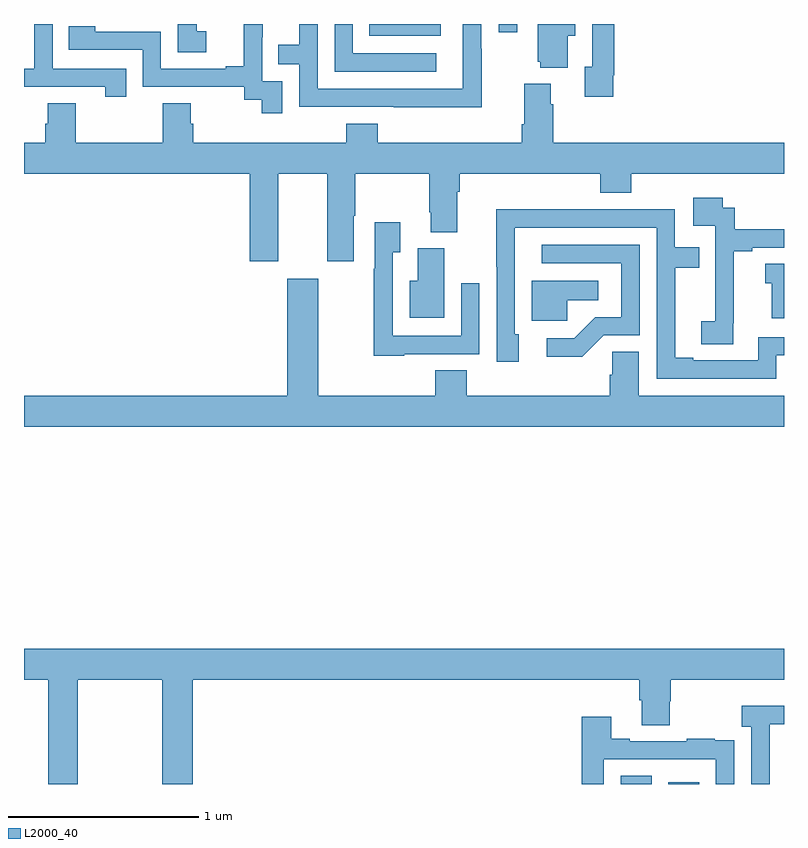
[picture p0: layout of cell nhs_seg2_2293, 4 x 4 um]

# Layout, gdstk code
import gdstk
lib = gdstk.Library(unit=1e-6, precision=1e-09)
def R(c, l, rs):  # rectangles x0, y0, x1, y1
    for r in rs: c.add(gdstk.rectangle(r[:2], r[2:], *l))
def P(c, l, *ps):  # polygons
    for p in ps: c.add(gdstk.Polygon(p, *l))
L2000_40 = (2000, 40)

nhs_seg2_2293 = lib.new_cell('nhs_seg2_2293')
R(nhs_seg2_2293, L2000_40, [(234.14,601.8,234.304,601.844), (234.392,601.8,234.553,601.81), (232.816,605.738,233.194,605.8), (233.499,605.757,233.595,605.8)])
P(nhs_seg2_2293, L2000_40, [(231.958,605.761),(231.909,605.761),(231.909,605.8),(231.81,605.8),(231.81,605.652),(231.958,605.652)],
  [(231.539,605.565),(231.15,605.565),(231.15,605.8),(231.054,605.8),(231.054,605.565),(231,605.565),(231,605.469),(231.428,605.469),(231.428,605.418),(231.539,605.418)],
  [(234.1,605.53),(234.107,605.53),(234.107,605.8),(233.991,605.8),(233.991,605.574),(233.951,605.574),(233.951,605.418),(234.1,605.418)],
  [(232.359,605.499),(232.254,605.499),(232.254,605.729),(232.256,605.729),(232.256,605.8),(232.157,605.8),(232.157,605.578),(232.061,605.578),(232.061,605.565),(231.72,605.565),(231.72,605.76),(231.375,605.76),(231.375,605.787),(231.235,605.787),(231.235,605.664),(231.624,605.664),(231.624,605.469),(232.158,605.469),(232.158,605.401),(232.251,605.401),(232.251,605.331),(232.359,605.331)],
  [(233.863,605.738),(233.902,605.738),(233.902,605.8),(233.705,605.8),(233.705,605.601),(233.717,605.601),(233.717,605.57),(233.863,605.57)],
  [(233.409,605.669),(233.406,605.669),(233.406,605.8),(233.31,605.8),(233.31,605.46),(232.545,605.46),(232.545,605.8),(232.449,605.8),(232.449,605.69),(232.339,605.69),(232.339,605.589),(232.449,605.589),(232.449,605.364),(232.945,605.364),(232.945,605.363),(233.409,605.363)],
  [(233.17,605.646),(232.731,605.646),(232.731,605.8),(232.635,605.8),(232.635,605.55),(233.17,605.55)],
  [(232.697,605.176),(231.89,605.176),(231.89,605.274),(231.877,605.274),(231.877,605.384),(231.73,605.384),(231.73,605.176),(231.273,605.176),(231.273,605.384),(231.125,605.384),(231.125,605.274),(231.113,605.274),(231.113,605.176),(231,605.176),(231,605.012),(232.187,605.012),(232.187,604.551),(232.339,604.551),(232.339,605.012),(232.595,605.012),(232.595,604.551),(232.735,604.551),(232.735,604.79),(232.743,604.79),(232.743,605.012),(233.134,605.012),(233.134,604.81),(233.141,604.81),(233.141,604.705),(233.281,604.705),(233.281,604.916),(233.294,604.916),(233.294,605.012),(234.032,605.012),(234.032,604.913),(234.197,604.913),(234.197,605.012),(235,605.012),(235,605.176),(233.786,605.176),(233.786,605.378),(233.773,605.378),(233.773,605.485),(233.633,605.485),(233.633,605.272),(233.621,605.272),(233.621,605.176),(232.862,605.176),(232.862,605.275),(232.697,605.275)],
  [(234.734,604.225),(234.736,604.225),(234.736,604.603),(234.832,604.603),(234.832,604.623),(235,604.623),(235,604.719),(234.74,604.719),(234.74,604.833),(234.678,604.833),(234.678,604.885),(234.522,604.885),(234.522,604.737),(234.639,604.737),(234.639,604.433),(234.638,604.433),(234.638,604.236),(234.564,604.236),(234.564,604.114),(234.734,604.114)],
  [(234.96,604.056),(235,604.056),(235,604.152),(234.864,604.152),(234.864,604.029),(234.523,604.029),(234.523,604.044),(234.427,604.044),(234.427,604.518),(234.554,604.518),(234.554,604.626),(234.426,604.626),(234.426,604.824),(233.948,604.824),(233.948,604.826),(233.486,604.826),(233.486,604.522),(233.487,604.522),(233.487,604.023),(233.605,604.023),(233.605,604.167),(233.583,604.167),(233.583,604.728),(234.33,604.728),(234.33,603.933),(234.96,603.933)],
  [(233.001,604.062),(233.397,604.062),(233.397,604.435),(233.301,604.435),(233.301,604.158),(232.941,604.158),(232.941,604.6),(232.981,604.6),(232.981,604.756),(232.845,604.756),(232.845,604.511),(232.84,604.511),(232.84,604.055),(233.001,604.055)],
  [(234.051,604.161),(234.24,604.161),(234.24,604.638),(233.724,604.638),(233.724,604.542),(234.144,604.542),(234.144,604.257),(234.006,604.257),(233.895,604.146),(233.751,604.146),(233.751,604.049),(233.938,604.049)],
  [(233.212,604.62),(233.072,604.62),(233.072,604.45),(233.03,604.45),(233.03,604.253),(233.212,604.253)],
  [(235,604.538),(234.902,604.538),(234.902,604.435),(234.935,604.435),(234.935,604.251),(235,604.251)],
  [(235,603.844),(234.235,603.844),(234.235,604.076),(234.096,604.076),(234.096,603.953),(234.083,603.953),(234.083,603.844),(233.33,603.844),(233.33,603.977),(233.165,603.977),(233.165,603.844),(232.549,603.844),(232.549,604.459),(232.385,604.459),(232.385,603.844),(231,603.844),(231,603.68),(235,603.68)],
  [(233.859,604.346),(234.022,604.346),(234.022,604.45),(233.672,604.45),(233.672,604.239),(233.859,604.239)],
  [(231.282,602.348),(231.727,602.348),(231.727,601.8),(231.887,601.8),(231.887,602.348),(234.239,602.348),(234.239,602.242),(234.251,602.242),(234.251,602.11),(234.399,602.11),(234.399,602.235),(234.404,602.235),(234.404,602.348),(235,602.348),(235,602.512),(231,602.512),(231,602.348),(231.127,602.348),(231.127,601.8),(231.282,601.8)],
  [(234.924,601.915),(234.925,601.915),(234.925,602.115),(235,602.115),(235,602.212),(234.777,602.212),(234.777,602.102),(234.828,602.102),(234.828,601.8),(234.924,601.8)],
  [(234.051,601.929),(234.642,601.929),(234.642,601.8),(234.738,601.8),(234.738,601.922),(234.737,601.922),(234.737,602.031),(234.635,602.031),(234.635,602.038),(234.487,602.038),(234.487,602.025),(234.187,602.025),(234.187,602.038),(234.091,602.038),(234.091,602.155),(233.935,602.155),(233.935,601.8),(234.051,601.8)])

lib.write_gds('nhs_seg2_2293.gds')
